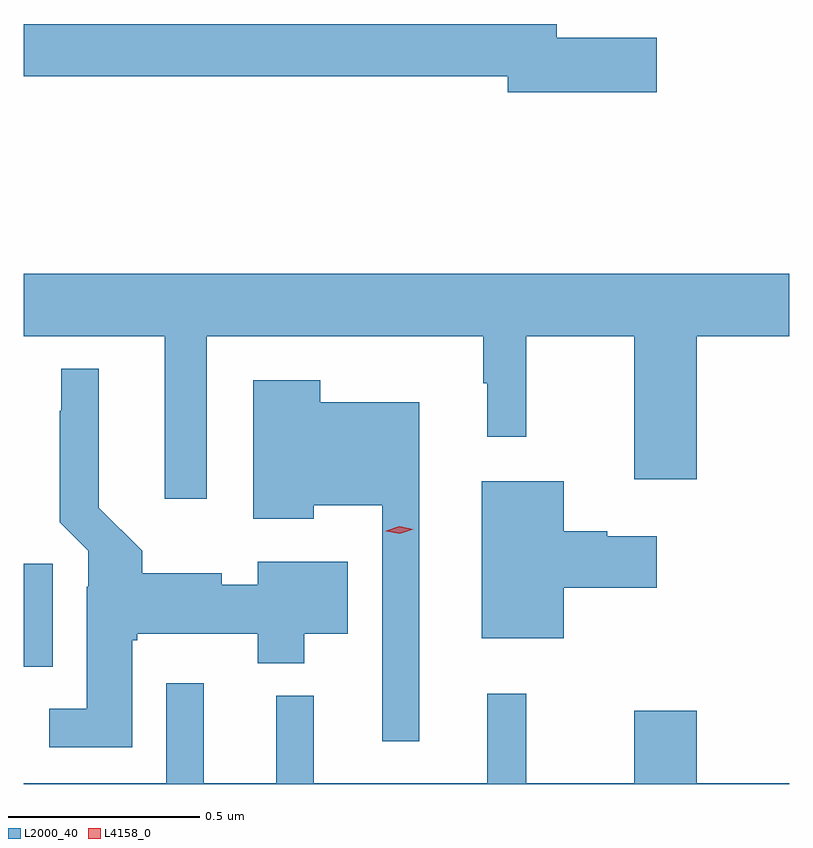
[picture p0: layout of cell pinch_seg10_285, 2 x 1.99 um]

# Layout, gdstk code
import gdstk
lib = gdstk.Library(unit=1e-6, precision=1e-09)
def R(c, l, rs):  # rectangles x0, y0, x1, y1
    for r in rs: c.add(gdstk.rectangle(r[:2], r[2:], *l))
def P(c, l, *ps):  # polygons
    for p in ps: c.add(gdstk.Polygon(p, *l))
L2000_40 = (2000, 40)
L4158_0 = (4158, 0)

pinch_seg10_285 = lib.new_cell('pinch_seg10_285')
R(pinch_seg10_285, L2000_40, [(511.065,1310.109,511.141,1310.377)])
P(pinch_seg10_285, L2000_40, [(512.719,1311.752),(512.458,1311.752),(512.458,1311.788),(511.065,1311.788),(511.065,1311.652),(512.33,1311.652),(512.33,1311.61),(512.719,1311.61)],
  [(511.543,1310.972),(512.265,1310.972),(512.265,1310.849),(512.276,1310.849),(512.276,1310.709),(512.378,1310.709),(512.378,1310.972),(512.66,1310.972),(512.66,1310.598),(512.824,1310.598),(512.824,1310.972),(513.065,1310.972),(513.065,1311.136),(511.065,1311.136),(511.065,1310.972),(511.433,1310.972),(511.433,1310.547),(511.543,1310.547)],
  [(511.348,1310.178),(511.362,1310.178),(511.362,1310.195),(511.676,1310.195),(511.676,1310.117),(511.798,1310.117),(511.798,1310.195),(511.912,1310.195),(511.912,1310.383),(511.676,1310.383),(511.676,1310.323),(511.582,1310.323),(511.582,1310.353),(511.374,1310.353),(511.374,1310.411),(511.261,1310.524),(511.261,1310.887),(511.163,1310.887),(511.163,1310.777),(511.159,1310.777),(511.159,1310.486),(511.233,1310.412),(511.233,1310.318),(511.229,1310.318),(511.229,1309.999),(511.131,1309.999),(511.131,1309.898),(511.348,1309.898)],
  [(512.098,1310.8),(511.839,1310.8),(511.839,1310.857),(511.664,1310.857),(511.664,1310.495),(511.822,1310.495),(511.822,1310.531),(512.001,1310.531),(512.001,1309.914),(512.098,1309.914)],
  [(512.476,1310.315),(512.719,1310.315),(512.719,1310.449),(512.589,1310.449),(512.589,1310.462),(512.476,1310.462),(512.476,1310.593),(512.261,1310.593),(512.261,1310.183),(512.476,1310.183)],
  [(512.276,1310.038),(512.276,1309.804),(511.823,1309.804),(511.823,1310.032),(511.724,1310.032),(511.724,1309.804),(511.535,1309.804),(511.535,1310.065),(511.437,1310.065),(511.437,1309.804),(511.065,1309.804),(511.065,1309.802),(513.065,1309.802),(513.065,1309.804),(512.824,1309.804),(512.824,1309.993),(512.66,1309.993),(512.66,1309.804),(512.378,1309.804),(512.378,1310.038)])
P(pinch_seg10_285, L4158_0, [(512.048,1310.456),(512.012,1310.463),(512.011,1310.463),(512.012,1310.464),(512.046,1310.476),(512.083,1310.468),(512.083,1310.468),(512.083,1310.468)])

lib.write_gds('pinch_seg10_285.gds')
